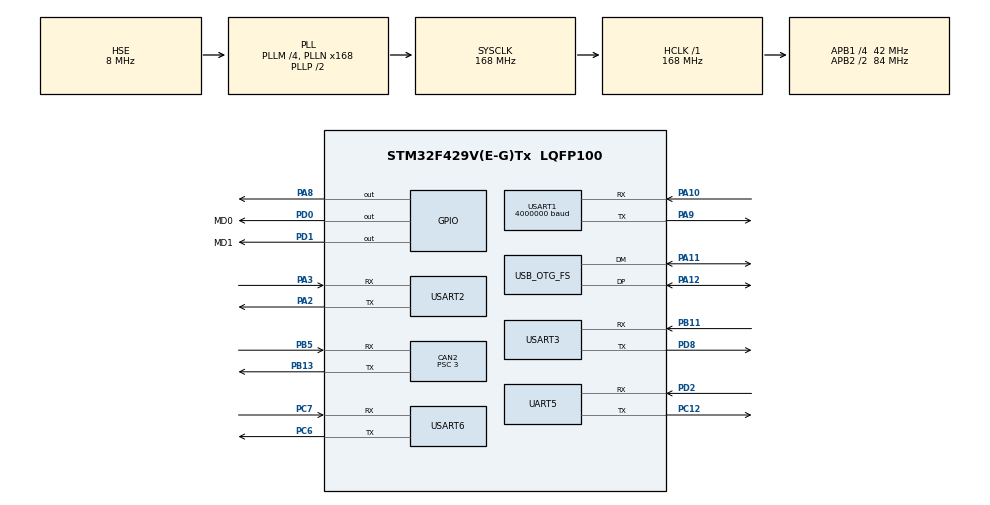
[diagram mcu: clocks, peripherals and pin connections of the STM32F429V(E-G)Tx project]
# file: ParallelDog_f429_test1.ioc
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CAN2.BS1=CAN_BS1_10TQ
CAN2.BS2=CAN_BS2_3TQ
CAN2.CalculateBaudRate=1000000
CAN2.CalculateTimeBit=1000
CAN2.CalculateTimeQuantum=71.42857142857143
CAN2.Prescaler=3
Dma.Request0=USART1_RX
Dma.Request1=UART5_TX
Dma.Request2=USART1_TX
Dma.Request3=USART2_RX
Dma.Request4=USART3_RX
Dma.UART5_TX.1.Direction=DMA_MEMORY_TO_PERIPH
Dma.UART5_TX.1.FIFOMode=DMA_FIFOMODE_DISABLE
Dma.UART5_TX.1.Instance=DMA1_Stream7
Dma.UART5_TX.1.MemDataAlignment=DMA_MDATAALIGN_BYTE
Dma.UART5_TX.1.MemInc=DMA_MINC_ENABLE
Dma.UART5_TX.1.Mode=DMA_NORMAL
Dma.UART5_TX.1.PeriphDataAlignment=DMA_PDATAALIGN_BYTE
Dma.UART5_TX.1.PeriphInc=DMA_PINC_DISABLE
Dma.UART5_TX.1.Priority=DMA_PRIORITY_LOW
Dma.USART1_RX.0.Direction=DMA_PERIPH_TO_MEMORY
Dma.USART1_RX.0.FIFOMode=DMA_FIFOMODE_DISABLE
Dma.USART1_RX.0.Instance=DMA2_Stream2
Dma.USART1_RX.0.MemDataAlignment=DMA_MDATAALIGN_BYTE
Dma.USART1_RX.0.MemInc=DMA_MINC_ENABLE
Dma.USART1_RX.0.Mode=DMA_CIRCULAR
Dma.USART1_RX.0.PeriphDataAlignment=DMA_PDATAALIGN_BYTE
Dma.USART1_RX.0.PeriphInc=DMA_PINC_DISABLE
Dma.USART1_RX.0.Priority=DMA_PRIORITY_LOW
Dma.USART1_TX.2.Direction=DMA_MEMORY_TO_PERIPH
Dma.USART1_TX.2.FIFOMode=DMA_FIFOMODE_DISABLE
Dma.USART1_TX.2.Instance=DMA2_Stream7
Dma.USART1_TX.2.MemDataAlignment=DMA_MDATAALIGN_BYTE
Dma.USART1_TX.2.MemInc=DMA_MINC_ENABLE
Dma.USART1_TX.2.Mode=DMA_CIRCULAR
Dma.USART1_TX.2.PeriphDataAlignment=DMA_PDATAALIGN_BYTE
Dma.USART1_TX.2.PeriphInc=DMA_PINC_DISABLE
Dma.USART1_TX.2.Priority=DMA_PRIORITY_LOW
Dma.USART2_RX.3.Direction=DMA_PERIPH_TO_MEMORY
Dma.USART2_RX.3.FIFOMode=DMA_FIFOMODE_DISABLE
Dma.USART2_RX.3.Instance=DMA1_Stream5
Dma.USART2_RX.3.MemDataAlignment=DMA_MDATAALIGN_BYTE
Dma.USART2_RX.3.MemInc=DMA_MINC_ENABLE
Dma.USART2_RX.3.Mode=DMA_CIRCULAR
Dma.USART2_RX.3.PeriphDataAlignment=DMA_PDATAALIGN_BYTE
Dma.USART2_RX.3.PeriphInc=DMA_PINC_DISABLE
Dma.USART2_RX.3.Priority=DMA_PRIORITY_LOW
Dma.USART3_RX.4.Direction=DMA_PERIPH_TO_MEMORY
Dma.USART3_RX.4.FIFOMode=DMA_FIFOMODE_DISABLE
Dma.USART3_RX.4.Instance=DMA1_Stream1
Dma.USART3_RX.4.MemDataAlignment=DMA_MDATAALIGN_BYTE
Dma.USART3_RX.4.MemInc=DMA_MINC_ENABLE
Dma.USART3_RX.4.Mode=DMA_CIRCULAR
Dma.USART3_RX.4.PeriphDataAlignment=DMA_PDATAALIGN_BYTE
Dma.USART3_RX.4.PeriphInc=DMA_PINC_DISABLE
Dma.USART3_RX.4.Priority=DMA_PRIORITY_LOW
FREERTOS.Tasks01=defaultTask,1,128,StartDefaultTask,Default,NULL,Dynamic,NULL,NULL
Mcu.Family=STM32F4
Mcu.Name=STM32F429V(E-G)Tx
Mcu.Package=LQFP100
NVIC.CAN2_RX0_IRQn=true\:5\:0\:false\:false\:true\:true\:true\:true\:true
NVIC.DMA1_Stream1_IRQn=true\:5\:0\:false\:false\:true\:true\:false\:true\:true
NVIC.DMA1_Stream5_IRQn=true\:5\:0\:false\:false\:true\:true\:false\:true\:true
NVIC.DMA1_Stream7_IRQn=true\:5\:0\:false\:false\:true\:true\:false\:true\:true
NVIC.DMA2_Stream2_IRQn=true\:5\:0\:false\:false\:true\:true\:false\:true\:true
NVIC.DMA2_Stream7_IRQn=true\:5\:0\:false\:false\:true\:true\:false\:true\:true
NVIC.OTG_FS_IRQn=true\:15\:0\:true\:false\:true\:true\:false\:true\:true
NVIC.PriorityGroup=NVIC_PRIORITYGROUP_4
NVIC.TIM8_TRG_COM_TIM14_IRQn=true\:15\:0\:true\:false\:true\:false\:false\:true\:true
NVIC.TimeBase=TIM8_TRG_COM_TIM14_IRQn
NVIC.TimeBaseIP=TIM14
NVIC.USART1_IRQn=true\:5\:0\:false\:false\:true\:true\:true\:true\:true
NVIC.USART2_IRQn=true\:5\:0\:false\:false\:true\:true\:true\:true\:true
NVIC.USART3_IRQn=true\:5\:0\:false\:false\:true\:true\:true\:true\:true
NVIC.USART6_IRQn=true\:5\:0\:false\:false\:true\:true\:true\:true\:true
PA10.Mode=Asynchronous
PA10.Signal=USART1_RX
PA11.Mode=Device_Only
PA11.Signal=USB_OTG_FS_DM
PA12.Mode=Device_Only
PA12.Signal=USB_OTG_FS_DP
PA13.Mode=Serial_Wire
PA13.Signal=SYS_JTMS-SWDIO
PA14.Mode=Serial_Wire
PA14.Signal=SYS_JTCK-SWCLK
PA2.Mode=Asynchronous
PA2.Signal=USART2_TX
PA3.Mode=Asynchronous
PA3.Signal=USART2_RX
PA8.Signal=GPIO_Output
PA9.Mode=Asynchronous
PA9.Signal=USART1_TX
PB11.Mode=Asynchronous
PB11.Signal=USART3_RX
PB13.Mode=CAN_Activate
PB13.Signal=CAN2_TX
PB5.Mode=CAN_Activate
PB5.Signal=CAN2_RX
PC12.Mode=Asynchronous
PC12.Signal=UART5_TX
PC6.Mode=Asynchronous
PC6.Signal=USART6_TX
PC7.Mode=Asynchronous
PC7.Signal=USART6_RX
PD0.GPIO_Label=MD0
PD0.Signal=GPIO_Output
PD1.GPIO_Label=MD1
PD1.Signal=GPIO_Output
PD2.Mode=Asynchronous
PD2.Signal=UART5_RX
PD8.Mode=Asynchronous
PD8.Signal=USART3_TX
PH0/OSC_IN.Mode=HSE-External-Oscillator
PH0/OSC_IN.Signal=RCC_OSC_IN
PH1/OSC_OUT.Mode=HSE-External-Oscillator
PH1/OSC_OUT.Signal=RCC_OSC_OUT
ProjectManager.HeapSize=0x200
ProjectManager.StackSize=0x400
ProjectManager.TargetToolchain=MDK-ARM V5.32
RCC.48MHZClocksFreq_Value=48000000
RCC.AHBFreq_Value=168000000
RCC.APB1CLKDivider=RCC_HCLK_DIV4
RCC.APB1Freq_Value=42000000
RCC.APB1TimFreq_Value=84000000
RCC.APB2CLKDivider=RCC_HCLK_DIV2
RCC.APB2Freq_Value=84000000
RCC.APB2TimFreq_Value=168000000
RCC.CortexFreq_Value=168000000
RCC.HCLKFreq_Value=168000000
RCC.HSE_VALUE=8000000
RCC.HSI_VALUE=16000000
RCC.LSE_VALUE=32768
RCC.PLLM=4
RCC.PLLN=168
RCC.PLLQ=7
RCC.SYSCLKFreq_VALUE=168000000
RCC.SYSCLKSource=RCC_SYSCLKSOURCE_PLLCLK
RCC.VCOOutputFreq_Value=336000000
UART5.VirtualMode=Asynchronous
USART1.BaudRate=4000000
USART1.VirtualMode=VM_ASYNC
USART2.VirtualMode=VM_ASYNC
USART3.VirtualMode=VM_ASYNC
USART6.VirtualMode=VM_ASYNC
USB_DEVICE.APP_RX_DATA_SIZE-CDC_FS=512
USB_DEVICE.APP_TX_DATA_SIZE-CDC_FS=512
USB_DEVICE.CLASS_NAME_FS=CDC
USB_DEVICE.VirtualMode-CDC_FS=Cdc
USB_DEVICE.VirtualModeFS=Cdc_FS
USB_OTG_FS.VirtualMode=Device_Only
VP_FREERTOS_VS_CMSIS_V1.Mode=CMSIS_V1
VP_SYS_VS_tim14.Mode=TIM14
VP_USB_DEVICE_VS_USB_DEVICE_CDC_FS.Mode=CDC_FS
board=custom

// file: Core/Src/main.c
/* USER CODE BEGIN Header */
/**
  ******************************************************************************
  * @file           : main.c
  * @brief          : Main program body
  ******************************************************************************
  * @attention
  *
  * Copyright (c) 2025 STMicroelectronics.
  * All rights reserved.
  *
  * This software is licensed under terms that can be found in the LICENSE file
  * in the root directory of this software component.
  * If no LICENSE file comes with this software, it is provided AS-IS.
  *
  ******************************************************************************
  */
/* USER CODE END Header */
#include "main.h"
#include "cmsis_os.h"
#include "can.h"
#include "dma.h"
#include "usart.h"
#include "usb_device.h"
#include "gpio.h"

void SystemClock_Config(void);
void MX_FREERTOS_Init(void);

int main(void)
{

  /* MCU Configuration--------------------------------------------------------*/

  /* Reset of all peripherals, Initializes the Flash interface and the Systick. */
 HAL_Init();

  /* Configure the system clock */
  SystemClock_Config();

  /* Initialize all configured peripherals */
  MX_GPIO_Init();
  MX_DMA_Init();
  MX_USART1_UART_Init();
  MX_USART2_UART_Init();
  MX_USART6_UART_Init();
  MX_CAN2_Init();
  MX_UART5_Init();
  MX_USART3_UART_Init();

  /* Call init function for freertos objects (in cmsis_os2.c) */
  MX_FREERTOS_Init();

  /* Start scheduler */
  osKernelStart();

  /* We should never get here as control is now taken by the scheduler */

  /* Infinite loop */
  /* USER CODE BEGIN WHILE */
while (1){
	HAL_Delay(100);
    /* USER CODE END WHILE */

  }
}

void SystemClock_Config(void)
{
  RCC_OscInitTypeDef RCC_OscInitStruct = {0};
  RCC_ClkInitTypeDef RCC_ClkInitStruct = {0};

  /** Configure the main internal regulator output voltage
  */
  __HAL_RCC_PWR_CLK_ENABLE();
  __HAL_PWR_VOLTAGESCALING_CONFIG(PWR_REGULATOR_VOLTAGE_SCALE1);

  /** Initializes the RCC Oscillators according to the specified parameters
  * in the RCC_OscInitTypeDef structure.
  */
  RCC_OscInitStruct.OscillatorType = RCC_OSCILLATORTYPE_HSE;
  RCC_OscInitStruct.HSEState = RCC_HSE_ON;
  RCC_OscInitStruct.PLL.PLLState = RCC_PLL_ON;
  RCC_OscInitStruct.PLL.PLLSource = RCC_PLLSOURCE_HSE;
  RCC_OscInitStruct.PLL.PLLM = 4;
  RCC_OscInitStruct.PLL.PLLN = 168;
  RCC_OscInitStruct.PLL.PLLP = RCC_PLLP_DIV2;
  RCC_OscInitStruct.PLL.PLLQ = 7;
  if (HAL_RCC_OscConfig(&RCC_OscInitStruct) != HAL_OK)
  {
    Error_Handler();
  }

  /** Initializes the CPU, AHB and APB buses clocks
  */
  RCC_ClkInitStruct.ClockType = RCC_CLOCKTYPE_HCLK|RCC_CLOCKTYPE_SYSCLK
                              |RCC_CLOCKTYPE_PCLK1|RCC_CLOCKTYPE_PCLK2;
  RCC_ClkInitStruct.SYSCLKSource = RCC_SYSCLKSOURCE_PLLCLK;
  RCC_ClkInitStruct.AHBCLKDivider = RCC_SYSCLK_DIV1;
  RCC_ClkInitStruct.APB1CLKDivider = RCC_HCLK_DIV4;
  RCC_ClkInitStruct.APB2CLKDivider = RCC_HCLK_DIV2;

  if (HAL_RCC_ClockConfig(&RCC_ClkInitStruct, FLASH_LATENCY_5) != HAL_OK)
  {
    Error_Handler();
  }
}

void HAL_TIM_PeriodElapsedCallback(TIM_HandleTypeDef *htim)
{
  if (htim->Instance == TIM14)
  {
    HAL_IncTick();
  }
}

void Error_Handler(void)
{
  __disable_irq();
  while (1)
  {
  }
}

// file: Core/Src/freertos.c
/* USER CODE BEGIN Header */
/**
 ******************************************************************************
 * File Name          : freertos.c
 * Description        : Code for freertos applications
 ******************************************************************************
 * @attention
 *
 * Copyright (c) 2025 STMicroelectronics.
 * All rights reserved.
 *
 * This software is licensed under terms that can be found in the LICENSE file
 * in the root directory of this software component.
 * If no LICENSE file comes with this software, it is provided AS-IS.
 *
 ******************************************************************************
 */
/* USER CODE END Header */

#include "FreeRTOS.h"
#include "task.h"
#include "main.h"
#include "cmsis_os.h"

/* USER CODE BEGIN Includes */
#include "queue.h"
#include "motor_control.h"
#include "postrue_control.h"
#include "math.h"
#include "usart.h"
#include "usbd_cdc_if.h"
#include <string.h>
#include "stdio.h"
#include "hwt605.h"
#include "imu_kalman.h"
#include "ReadData.h "
#include "vofa_Debug.h"
#include "A28_RC.h"
#include "world.h"
#include "app_remote_rx.h"
/* USER CODE END Includes */

/* USER CODE BEGIN PD */
#define DOG_SWITCH RC_MODE
#define Signal_DogInitOK (1U << 0)
#define Signal_WorldInitOK (1U << 1)
#define STACK_WORDS_DEFAULT_TASK 256U
#define STACK_WORDS_CALCULATE_TASK 1024U
#define STACK_WORDS_REMOTE_TASK 512U
#define STACK_WORDS_PLANNING_TASK 512U
#define STACK_WORDS_SENSOR_TASK 512U
/* USER CODE END PD */

/* USER CODE BEGIN Variables */
WorldModel world;
uint8_t Rx_Temp[10] = {0};
static imu_kalman_t g_imu_kf;
unsigned char buf[64] = {0};
extern wit_t hwt_angle;
extern uint8_t lora_rx_byte[10];
extern vcp_message_t msg;
extern uint8_t vofa_rx_frame[6];
extern uint8_t process_buf[RX_BUF_SIZE];
extern uint16_t process_len;
CAN_RxHeaderTypeDef RxHeader;
osThreadId SensorTaskHandle;
osThreadId CalculateTaskHandle;
osThreadId RemoteContrlTaskHandle;
osThreadId TargetSwitchTaskHandle;
osThreadId PlanningTaskHandle;
static UBaseType_t g_defaultTaskMinHwmWords = (UBaseType_t)0xFFFFFFFFu;
static uint32_t g_defaultTaskSampleCnt = 0;

/* USER CODE END Variables */
osThreadId defaultTaskHandle;

/* USER CODE BEGIN FunctionPrototypes */
void Sensor(void const *argument);
void calculateFunc(void const *argument);
void RC_Ctrl(void const *argument);
void TargetSwitch(void const *argument);
void Planning(void const *argument);
static void PrintTaskStackUsage(void);
/* USER CODE END FunctionPrototypes */

void StartDefaultTask(void const *argument);

extern void MX_USB_DEVICE_Init(void);
void MX_FREERTOS_Init(void); /* (MISRA C 2004 rule 8.1) */

/* GetIdleTaskMemory prototype (linked to static allocation support) */
void vApplicationGetIdleTaskMemory(StaticTask_t **ppxIdleTaskTCBBuffer, StackType_t **ppxIdleTaskStackBuffer, uint32_t *pulIdleTaskStackSize);

/* USER CODE BEGIN GET_IDLE_TASK_MEMORY */
static StaticTask_t xIdleTaskTCBBuffer;
static StackType_t xIdleStack[configMINIMAL_STACK_SIZE];

void vApplicationGetIdleTaskMemory(StaticTask_t **ppxIdleTaskTCBBuffer, StackType_t **ppxIdleTaskStackBuffer, uint32_t *pulIdleTaskStackSize)
{
  *ppxIdleTaskTCBBuffer = &xIdleTaskTCBBuffer;
  *ppxIdleTaskStackBuffer = &xIdleStack[0];
  *pulIdleTaskStackSize = configMINIMAL_STACK_SIZE;
  /* place for user code */
}
/* USER CODE END GET_IDLE_TASK_MEMORY */

void MX_FREERTOS_Init(void)
{

  /* Create the thread(s) */
  /* definition and creation of defaultTask */
  osThreadDef(defaultTask, StartDefaultTask, osPriorityAboveNormal, 0, 256);
  defaultTaskHandle = osThreadCreate(osThread(defaultTask), NULL);

  /* USER CODE BEGIN RTOS_THREADS */
  /* add threads, ... */
  osThreadDef(CalculateTask, calculateFunc, osPriorityNormal, 0, 1024);
  CalculateTaskHandle = osThreadCreate(osThread(CalculateTask), NULL);
#if DOG_SWITCH == RC_MODE
  world.dog.dog_mode = RC_MODE;
  osThreadDef(RemoteContrlTask, RC_Ctrl, osPriorityNormal, 0, 512);
  RemoteContrlTaskHandle = osThreadCreate(osThread(RemoteContrlTask), NULL);
#elif DOG_SWITCH == AUTO_MODE
  world.dog.dog_mode = AUTO_MODE;
  // osThreadDef(TargetSwitchTask, TargetSwitch, osPriorityNormal, 0, 512);
  // TargetSwitchTaskHandle = osThreadCreate(osThread(TargetSwitchTask), NULL);
  osThreadDef(PlanningTask, Planning, osPriorityNormal, 0, 512);
  PlanningTaskHandle = osThreadCreate(osThread(PlanningTask), NULL);
#endif
  osThreadDef(SensorTask, Sensor, osPriorityNormal, 0, 512);
  SensorTaskHandle = osThreadCreate(osThread(SensorTask), NULL);

  /* USER CODE END RTOS_THREADS */
}

void StartDefaultTask(void const *argument)
{
  /* init code for USB_DEVICE */
  MX_USB_DEVICE_Init();
  /* USER CODE BEGIN StartDefaultTask */
  world_init(&world);
  osSignalSet(CalculateTaskHandle, Signal_WorldInitOK);
  vTaskSuspend(NULL);
  /* Infinite loop */
  for (;;)
  {
    // printf("%.2f\n",hwt_angle.fYaw);
    osDelay(100);
  }
  /* USER CODE END StartDefaultTask */
}

/* USER CODE BEGIN Application */
/* USER CODE BEGIN Header_calculateFunc */
/**
 * @brief Function implementing the CalculateTask thread.
 * @param argument: Not used
 * @retval None
 */
/* USER CODE END Header_calculateFunc */
void calculateFunc(void const *argument)
{
  /* USER CODE BEGIN calculateFunc */
  osSignalWait(Signal_WorldInitOK, osWaitForever);
#if DOG_SWITCH == AUTO_MODE
  osSignalWait(VCP_SIGNAL, osWaitForever); // 等待VCP初始化完成
  standUP_FPC(&world.dog, 216.5f);
  if (PlanningTaskHandle != NULL)
  {
    osSignalSet(PlanningTaskHandle, Signal_DogInitOK);
  }
  if (TargetSwitchTaskHandle != NULL)
  {
    osSignalSet(TargetSwitchTaskHandle, Signal_DogInitOK);
  }
#elif (DOG_SWITCH == RC_MODE)
  standUP_FPC(&world.dog, 216.5f);
#endif
  /* Infinite loop */
  for (;;)
  {
    dogTaskCtrl(&world.dog);
    osDelay(1);
  }
  /* USER CODE END calculateFunc */
}

/* USER CODE BEGIN Header_RC_Ctrl */
/**
 * @brief Function implementing the RemoteContrlTas thread.
 * @param argument: Not used
 * @retval None
 */
/* USER CODE END Header_RC_Ctrl */
void RC_Ctrl(void const *argument)
{
  /* USER CODE BEGIN RC_Ctrl */

  vofa_init(&huart2);
  HAL_UART_Receive_IT(&huart2, vofa_rx_frame, 6);
  // uint8_t local_buf[RX_BUF_SIZE];
  // uint16_t local_len = 0;

  // app_remote_rx_init(&huart3);
  // app_remote_rx_start();
  // app_remote_thread(RemoteContrlTaskHandle);
  /* Infinite loop */
  for (;;)
  {
    vofa_GetData(vofa_rx_frame);
    vofa_rc(&world.dog);
    // for (uint8_t leg = 0; leg < 4; leg++)
    // {
    //   printf("%.2f,%.2f,%.2f\n", world.dog.leg[leg].motor_ctrl_linkf.cmd.T, world.dog.leg[leg].motor_ctrl_linkb.cmd.T, world.dog.leg[leg].motor_ctrl_linkf.cmd.Pos);
    // }
    osDelay(100);
  }
  /* USER CODE END RC_Ctrl */
}

void Sensor(void const *argument)
{

  hwt605_Init(); // IMU初始化
#if DOG_SWITCH == AUTO_MODE
  uint8_t drain_rounds;
  uint32_t now_tick;
  uint32_t last_stack_log_tick;
  VCP_ReadTask_Init(osThreadGetId());
  osEvent evt = osSignalWait(VCP_SIGNAL, osWaitForever);
  if (evt.status == osEventSignal && (evt.value.signals & VCP_SIGNAL))
  {
    osSignalSet(CalculateTaskHandle, VCP_SIGNAL);
  }
  last_stack_log_tick = osKernelSysTick();
#endif

  for (;;)
  {
#if DOG_SWITCH == AUTO_MODE
    evt = osSignalWait(VCP_SIGNAL, osWaitForever);
    if (evt.status == osEventSignal && (evt.value.signals & VCP_SIGNAL))
    {
      drain_rounds = 0U;
      do
      {
        VCP_ReadTask();
        drain_rounds++;
      } while ((VCP_GetRxCount() > 0U) && (drain_rounds < 10U));
      world.dog.location.pos.x = msg.xdata;
      world.dog.location.pos.y = msg.ydata;
      now_tick = osKernelSysTick();
      if ((now_tick - last_stack_log_tick) >= 2000U)
      {
        PrintTaskStackUsage();
        last_stack_log_tick = now_tick;
      }
    }
#endif
    printf("%.2f,%.2f,%.2f\n", world.dog.location.roll, world.dog.location.pitch, world.dog.location.yaw);
    osDelay(100);
  }
}

static void PrintTaskStackUsage(void)
{
  UBaseType_t free_words;
  uint32_t free_bytes;
  uint32_t cfg_bytes;
  uint32_t used_bytes;

  if (defaultTaskHandle != NULL)
  {
    free_words = uxTaskGetStackHighWaterMark((TaskHandle_t)defaultTaskHandle);
    free_bytes = (uint32_t)free_words * sizeof(StackType_t);
    cfg_bytes = STACK_WORDS_DEFAULT_TASK * sizeof(StackType_t);
    used_bytes = (cfg_bytes >= free_bytes) ? (cfg_bytes - free_bytes) : 0U;
    printf("[STACK] default used=%luB free_min=%luB cfg=%luB\r\n", used_bytes, free_bytes, cfg_bytes);
  }

  if (CalculateTaskHandle != NULL)
  {
    free_words = uxTaskGetStackHighWaterMark((TaskHandle_t)CalculateTaskHandle);
    free_bytes = (uint32_t)free_words * sizeof(StackType_t);
    cfg_bytes = STACK_WORDS_CALCULATE_TASK * sizeof(StackType_t);
    used_bytes = (cfg_bytes >= free_bytes) ? (cfg_bytes - free_bytes) : 0U;
    printf("[STACK] calculate used=%luB free_min=%luB cfg=%luB\r\n", used_bytes, free_bytes, cfg_bytes);
  }

  if (SensorTaskHandle != NULL)
  {
    free_words = uxTaskGetStackHighWaterMark((TaskHandle_t)SensorTaskHandle);
    free_bytes = (uint32_t)free_words * sizeof(StackType_t);
    cfg_bytes = STACK_WORDS_SENSOR_TASK * sizeof(StackType_t);
    used_bytes = (cfg_bytes >= free_bytes) ? (cfg_bytes - free_bytes) : 0U;
    printf("[STACK] sensor used=%luB free_min=%luB cfg=%luB\r\n", used_bytes, free_bytes, cfg_bytes);
  }

#if DOG_SWITCH == RC_MODE
  if (RemoteContrlTaskHandle != NULL)
  {
    free_words = uxTaskGetStackHighWaterMark((TaskHandle_t)RemoteContrlTaskHandle);
    free_bytes = (uint32_t)free_words * sizeof(StackType_t);
    cfg_bytes = STACK_WORDS_REMOTE_TASK * sizeof(StackType_t);
    used_bytes = (cfg_bytes >= free_bytes) ? (cfg_bytes - free_bytes) : 0U;
    printf("[STACK] remote used=%luB free_min=%luB cfg=%luB\r\n", used_bytes, free_bytes, cfg_bytes);
  }
#elif DOG_SWITCH == AUTO_MODE
  if (PlanningTaskHandle != NULL)
  {
    free_words = uxTaskGetStackHighWaterMark((TaskHandle_t)PlanningTaskHandle);
    free_bytes = (uint32_t)free_words * sizeof(StackType_t);
    cfg_bytes = STACK_WORDS_PLANNING_TASK * sizeof(StackType_t);
    used_bytes = (cfg_bytes >= free_bytes) ? (cfg_bytes - free_bytes) : 0U;
    printf("[STACK] planning used=%luB free_min=%luB cfg=%luB\r\n", used_bytes, free_bytes, cfg_bytes);
  }
#endif
}

void TargetSwitch(void const *argument)
{
  osSignalWait(Signal_DogInitOK, osWaitForever);
  /* Infinite loop */
  for (;;)
  {
    task_switch(&world.dog, &world.box_groups, &world.return_field);
    osDelay(1000);
  }
}

void Planning(void const *argument)
{
  osSignalWait(Signal_DogInitOK, osWaitForever);
  world.dog.plan.type = POINT_TO_POINT;
  world.dog.target_location.pos.x = 10.0f;
  world.dog.target_location.pos.y = 10.0f;
  ActionControl_InitWithDog(&world.dog);

  for (;;)
  {
    dog_Planning(&world.dog);
    osDelay(100);
  }
}

void vApplicationStackOverflowHook(TaskHandle_t xTask, char *pcTaskName)
{
  (void)xTask;
  (void)pcTaskName;
  taskDISABLE_INTERRUPTS();
  for (;;)
  {
  }
}
// void HAL_UART_RxCpltCallback(UART_HandleTypeDef *huart)
// {
//   if (huart == &huart2)
//   {
//     vofa_GetData(&Rx_Temp[0]);
// //      SBUS_Reveive(Rx_Temp[0]);
//     HAL_UART_Receive_IT(&huart2, &Rx_Temp[0], 6);
//   }
// }

// void HAL_UART_ErrorCallback(UART_HandleTypeDef *huart)
// {
//   if (huart == &huart2)
//   {
//     __HAL_UART_CLEAR_OREFLAG(huart);
//     __HAL_UART_CLEAR_FEFLAG(huart);
//     __HAL_UART_CLEAR_NEFLAG(huart);
//     HAL_UART_Receive_IT(&huart2, &Rx_Temp[0], 6);
//   }
// }
/* USER CODE END Application */
